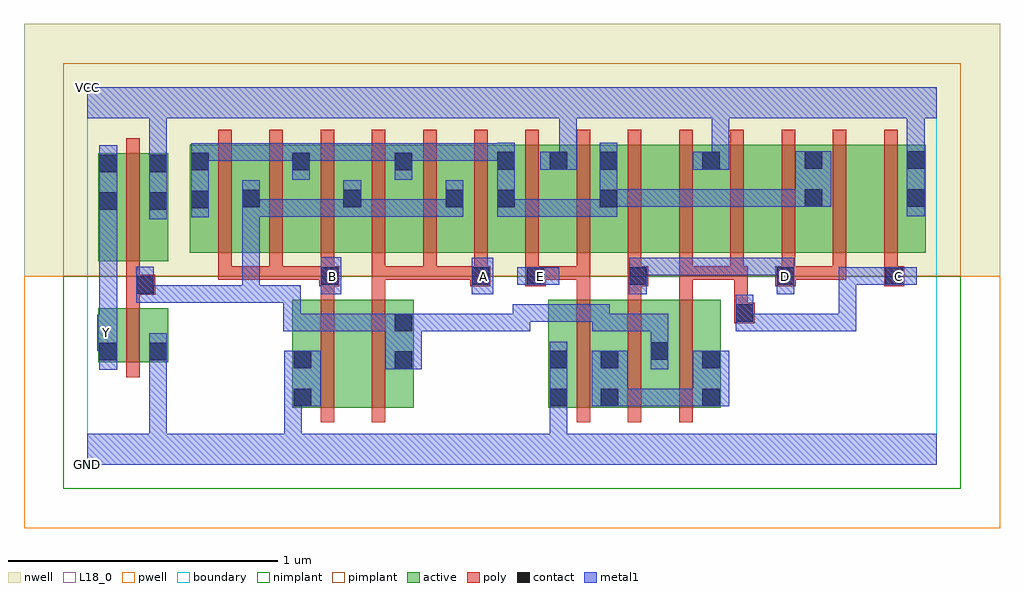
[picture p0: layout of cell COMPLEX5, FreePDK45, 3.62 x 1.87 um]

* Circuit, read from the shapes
.subckt COMPLEX5 A B C D E GND VCC Y
M1 GND n1 Y VSUBS nfet w=0.2u l=0.05u
M2 n2 B GND VSUBS nfet w=0.4u l=0.05u
M3 n1 A n2 VSUBS nfet w=0.4u l=0.05u
M4 n3 E GND VSUBS nfet w=0.4u l=0.05u
M5 n1 D n3 VSUBS nfet w=0.4u l=0.05u
M6 n3 C n1 VSUBS nfet w=0.4u l=0.05u
M7 VCC n1 Y n4 pfet w=0.4u l=0.05u
M8 n1 B n5 n4 pfet w=0.4u l=0.05u m=3
M9 n5 A n1 n4 pfet w=0.4u l=0.05u m=3
M10 VCC E n5 n4 pfet w=0.4u l=0.05u m=2
M11 n6 D n5 n4 pfet w=0.4u l=0.05u
M12 VCC C n6 n4 pfet w=0.4u l=0.05u
M13 n7 C VCC n4 pfet w=0.4u l=0.05u
M14 n5 D n7 n4 pfet w=0.4u l=0.05u
M15 n8 D n5 n4 pfet w=0.4u l=0.05u
M16 VCC C n8 n4 pfet w=0.4u l=0.05u
.ends

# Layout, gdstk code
import gdstk
lib = gdstk.Library(unit=1e-6, precision=1e-09)
def R(c, l, rs):  # rectangles x0, y0, x1, y1
    for r in rs: c.add(gdstk.rectangle(r[:2], r[2:], *l))
def A(c, l, x, y, w, h, nx, ny, dx, dy):  # array of equal rectangles
    R(c, l, [(x+i*dx, y+j*dy, x+i*dx+w, y+j*dy+h) for i in range(nx) for j in range(ny)])
active = (1, 0)
pwell = (2, 0)
nwell = (3, 0)
nimplant = (4, 0)
pimplant = (5, 0)
poly = (9, 0)
contact = (10, 0)
metal1 = (11, 0)
L18_0 = (18, 0)
boundary = (235, 0)

complex5 = lib.new_cell('COMPLEX5')
A(complex5, active, 0.755, 0.787, 0.265, 0.4, 4, 1, 0.19, 0)
A(complex5, active, 1.895, 0.787, 0.23, 0.4, 3, 1, 0.38, 0)
A(complex5, active, 2.125, 0.787, 0.225, 0.4, 3, 1, 0.38, 0)
R(complex5, active, [(0.76,0.212,0.835,0.492), (0.76,0.212,0.985,0.612), (0.985,0.212,1.21,0.612), (1.71,0.212,1.785,0.612), (1.71,0.212,1.975,0.612), (1.9,0.212,2.16,0.612), (1.9,0.212,1.975,0.492), (2.085,0.212,2.35,0.612), (2.275,0.212,2.35,0.612), (1.135,0.245,1.21,0.612), (2.085,0.245,2.16,0.492), (0.04,0.38,0.3,0.58), (0.225,0.38,0.3,0.58), (0.04,0.382,0.115,0.58), (0.04,0.755,0.115,1.155), (0.04,0.755,0.3,1.155), (0.225,0.755,0.3,1.155), (0.38,0.787,0.645,1.187), (0.38,0.787,0.455,1.162), (0.57,0.787,0.83,1.187), (0.57,0.787,0.645,1.07), (0.945,0.787,1.02,1.07), (1.135,0.787,1.21,1.162), (1.325,0.787,1.4,1.07), (1.515,0.787,1.59,1.187), (1.515,0.787,1.785,1.187), (1.71,0.787,1.785,1.187), (1.71,0.787,1.97,1.187), (1.895,0.787,1.97,1.165), (2.275,0.787,2.35,1.187), (2.655,0.787,2.73,1.167), (3.035,0.787,3.11,1.187), (0.755,0.907,0.83,1.162)])
R(complex5, pwell, [(-0.235,-0.235,3.385,0.7)])
R(complex5, nwell, [(-0.235,0.7,3.385,1.635)])
R(complex5, nimplant, [(-0.09,-0.09,3.24,0.7)])
R(complex5, pimplant, [(-0.09,0.7,3.24,1.49)])
A(complex5, poly, 1.815, 0.157, 0.05, 0.51, 3, 1, 0.19, 0)
A(complex5, poly, 0.485, 0.687, 0.05, 0.095, 14, 1, 0.19, 0)
A(complex5, poly, 0.485, 0.732, 0.05, 0.51, 14, 1, 0.19, 0)
R(complex5, poly, [(0.865,0.157,0.915,0.667), (1.055,0.157,1.105,0.667), (0.145,0.325,0.195,0.635), (2.4,0.525,2.475,0.6), (2.4,0.55,2.45,0.737), (0.145,0.585,0.195,0.68), (0.865,0.617,0.915,0.712), (1.055,0.617,1.105,0.737), (1.815,0.617,1.865,0.737), (2.005,0.617,2.055,0.712), (2.195,0.617,2.245,0.737), (0.145,0.63,0.252,0.705), (0.145,0.655,0.195,0.75), (0.86,0.662,0.935,0.737), (1.42,0.662,1.495,0.737), (1.625,0.662,1.7,0.737), (2.005,0.662,2.08,0.737), (2.552,0.662,2.627,0.737), (2.955,0.662,3.03,0.737), (0.485,0.687,0.535,0.737), (0.485,0.687,0.535,0.737), (0.485,0.687,0.535,0.737), (0.485,0.687,0.725,0.737), (0.675,0.687,0.725,0.737), (0.675,0.687,0.91,0.737), (0.86,0.687,0.91,0.737), (0.86,0.687,0.91,0.737), (1.055,0.687,1.105,0.737), (1.055,0.687,1.105,0.737), (1.055,0.687,1.105,0.737), (1.055,0.687,1.295,0.737), (1.245,0.687,1.295,0.737), (1.245,0.687,1.47,0.737), (1.42,0.687,1.47,0.737), (1.42,0.687,1.47,0.737), (1.65,0.687,1.7,0.737), (1.65,0.687,1.7,0.737), (1.65,0.687,1.865,0.737), (1.815,0.687,1.865,0.737), (2.195,0.687,2.245,0.737), (2.195,0.687,2.435,0.737), (2.385,0.687,2.435,0.737), (2.385,0.687,2.435,0.737), (2.385,0.687,2.435,0.737), (2.385,0.687,2.435,0.737), (2.385,0.687,2.45,0.737), (2.577,0.687,2.815,0.737), (2.765,0.687,2.815,0.737), (2.765,0.687,2.815,0.737), (2.765,0.687,2.815,0.737), (0.145,0.7,0.195,1.21)])
R(complex5, contact, [(0.765,0.217,0.83,0.282), (1.715,0.217,1.78,0.282), (1.905,0.217,1.97,0.282), (2.28,0.217,2.345,0.282), (1.14,0.355,1.205,0.42), (0.765,0.357,0.83,0.422), (1.715,0.357,1.78,0.422), (1.905,0.357,1.97,0.422), (2.28,0.357,2.345,0.422), (0.045,0.387,0.11,0.452), (0.23,0.387,0.295,0.452), (2.09,0.39,2.155,0.455), (1.14,0.495,1.205,0.56), (2.405,0.53,2.47,0.595), (0.182,0.635,0.247,0.7), (0.865,0.667,0.93,0.732), (1.425,0.667,1.49,0.732), (1.63,0.667,1.695,0.732), (2.01,0.667,2.075,0.732), (2.557,0.667,2.622,0.732), (2.96,0.667,3.025,0.732), (0.045,0.945,0.11,1.01), (0.23,0.945,0.295,1.01), (0.385,0.952,0.45,1.017), (0.575,0.955,0.64,1.02), (0.95,0.955,1.015,1.02), (1.33,0.955,1.395,1.02), (1.52,0.955,1.585,1.02), (1.9,0.955,1.965,1.02), (2.66,0.957,2.725,1.022), (3.04,0.957,3.105,1.022), (0.045,1.085,0.11,1.15), (0.23,1.085,0.295,1.15), (0.385,1.092,0.45,1.157), (0.76,1.092,0.825,1.157), (1.14,1.092,1.205,1.157), (1.52,1.095,1.585,1.16), (1.715,1.095,1.78,1.16), (1.9,1.095,1.965,1.16), (2.28,1.095,2.345,1.16), (2.66,1.097,2.725,1.162), (3.04,1.097,3.105,1.162)])
R(complex5, metal1, [(0,0,3.15,0.115), (0.23,0.05,0.295,0.115), (0.23,0.05,0.295,0.115), (0.23,0.05,0.295,0.417), (0.73,0.05,0.795,0.282), (1.715,0.05,1.78,0.247), (1.715,0.182,1.78,0.457), (1.715,0.182,1.78,0.247), (1.715,0.182,1.78,0.247), (0.73,0.217,0.795,0.282), (0.73,0.217,0.795,0.282), (0.73,0.217,0.865,0.422), (1.87,0.217,2.005,0.422), (1.94,0.217,2.172,0.282), (2.107,0.217,2.31,0.282), (2.107,0.217,2.172,0.282), (2.107,0.217,2.172,0.282), (2.107,0.217,2.172,0.282), (2.245,0.217,2.31,0.282), (2.245,0.217,2.31,0.282), (2.245,0.217,2.38,0.422), (0.045,0.352,0.11,0.487), (0.23,0.352,0.295,0.417), (0.23,0.352,0.295,0.417), (0.23,0.352,0.295,0.417), (0.23,0.352,0.295,0.417), (0.23,0.352,0.295,0.487), (1.105,0.355,1.24,0.56), (2.09,0.355,2.155,0.49), (0.037,0.422,0.11,0.557), (0.045,0.422,0.11,0.487), (2.09,0.425,2.155,0.49), (2.09,0.425,2.155,0.56), (0.045,0.492,0.11,0.975), (0.727,0.495,0.792,0.56), (0.727,0.495,0.792,0.56), (0.727,0.495,0.792,0.56), (0.727,0.495,0.962,0.56), (0.727,0.495,0.792,0.665), (0.897,0.495,0.962,0.56), (0.897,0.495,0.962,0.56), (0.897,0.495,0.962,0.56), (0.897,0.495,1.17,0.56), (1.175,0.495,1.24,0.56), (1.175,0.495,1.24,0.56), (1.175,0.495,1.377,0.56), (1.312,0.495,1.377,0.56), (1.312,0.495,1.377,0.56), (1.312,0.495,1.377,0.56), (1.312,0.495,1.522,0.56), (1.457,0.495,1.522,0.56), (1.457,0.495,1.642,0.56), (1.577,0.495,1.642,0.595), (1.872,0.495,2.155,0.56), (1.872,0.495,1.937,0.595), (2.405,0.495,2.47,0.56), (2.405,0.495,2.47,0.56), (2.405,0.495,2.47,0.56), (2.405,0.495,2.47,0.56), (2.405,0.495,2.47,0.63), (2.405,0.495,2.622,0.56), (2.557,0.495,2.622,0.56), (2.557,0.495,2.622,0.56), (2.557,0.495,2.622,0.56), (2.557,0.495,2.852,0.56), (2.787,0.495,2.852,0.732), (2.787,0.495,2.852,0.56), (2.787,0.495,2.852,0.56), (2.787,0.495,2.852,0.56), (1.577,0.53,1.78,0.595), (1.715,0.53,1.78,0.595), (1.715,0.53,1.78,0.595), (1.715,0.53,1.78,0.595), (1.715,0.53,1.937,0.595), (0.182,0.6,0.247,0.665), (0.182,0.6,0.247,0.665), (0.182,0.6,0.247,0.735), (0.182,0.6,0.502,0.665), (0.437,0.6,0.64,0.665), (0.437,0.6,0.502,0.665), (0.437,0.6,0.502,0.665), (0.437,0.6,0.502,0.665), (0.575,0.6,0.64,0.665), (0.575,0.6,0.64,0.665), (0.575,0.6,0.64,0.665), (0.575,0.6,0.792,0.665), (0.575,0.6,0.64,0.985), (0.727,0.6,0.792,0.665), (0.865,0.632,0.942,0.77), (1.425,0.632,1.505,0.767), (2.01,0.632,2.075,0.767), (2.557,0.632,2.622,0.767), (1.595,0.667,1.75,0.732), (2.787,0.667,2.99,0.732), (2.787,0.667,2.852,0.732), (2.925,0.667,3.077,0.732), (2.01,0.702,2.172,0.767), (2.107,0.702,2.172,0.767), (2.107,0.702,2.332,0.767), (2.267,0.702,2.332,0.767), (2.267,0.702,2.332,0.767), (2.267,0.702,2.332,0.767), (2.267,0.702,2.485,0.767), (2.42,0.702,2.485,0.767), (2.42,0.702,2.485,0.767), (2.42,0.702,2.485,0.767), (2.42,0.702,2.622,0.767), (0.045,0.91,0.11,1.185), (0.23,0.91,0.295,1.185), (0.385,0.917,0.45,1.192), (0.575,0.92,0.64,0.985), (0.575,0.92,0.64,0.985), (0.575,0.92,0.64,1.055), (0.575,0.92,0.825,0.985), (0.76,0.92,0.825,0.985), (0.76,0.92,0.825,0.985), (0.76,0.92,0.825,0.985), (0.76,0.92,1.015,0.985), (0.95,0.92,1.015,0.985), (0.95,0.92,1.015,0.985), (0.95,0.92,1.152,0.985), (0.95,0.92,1.015,1.055), (1.087,0.92,1.152,0.985), (1.087,0.92,1.152,0.985), (1.087,0.92,1.152,0.985), (1.087,0.92,1.395,0.985), (1.33,0.92,1.395,1.055), (1.52,0.92,1.585,1.195), (1.52,0.92,1.585,0.985), (1.52,0.92,1.585,0.985), (1.52,0.92,1.585,0.985), (1.52,0.92,1.585,0.985), (1.52,0.92,1.797,0.985), (1.732,0.92,1.797,0.985), (1.732,0.92,1.797,0.985), (1.732,0.92,1.797,0.985), (1.732,0.92,1.965,0.985), (1.9,0.92,1.965,1.195), (3.04,0.922,3.105,1.197), (1.9,0.957,1.965,1.022), (1.9,0.957,1.965,1.022), (1.9,0.957,2.172,1.022), (2.107,0.957,2.172,1.022), (2.107,0.957,2.332,1.022), (2.267,0.957,2.332,1.022), (2.267,0.957,2.332,1.022), (2.267,0.957,2.332,1.022), (2.267,0.957,2.485,1.022), (2.42,0.957,2.485,1.022), (2.42,0.957,2.485,1.022), (2.42,0.957,2.485,1.022), (2.42,0.957,2.69,1.022), (2.625,0.957,2.69,1.022), (2.625,0.957,2.69,1.022), (2.625,0.957,2.76,1.162), (0.76,1.057,0.825,1.192), (1.14,1.057,1.205,1.192), (1.68,1.095,1.815,1.16), (1.75,1.095,1.815,1.35), (2.245,1.095,2.38,1.16), (2.315,1.095,2.38,1.35), (0.23,1.12,0.295,1.35), (0.385,1.127,0.45,1.192), (0.385,1.127,0.45,1.192), (0.385,1.127,0.655,1.192), (0.59,1.127,0.655,1.192), (0.59,1.127,0.655,1.192), (0.59,1.127,0.655,1.192), (0.59,1.127,0.825,1.192), (0.76,1.127,0.825,1.192), (0.76,1.127,0.825,1.192), (0.76,1.127,1.015,1.192), (0.95,1.127,1.015,1.192), (0.95,1.127,1.015,1.192), (0.95,1.127,1.015,1.192), (0.95,1.127,1.205,1.192), (1.14,1.127,1.205,1.192), (1.14,1.127,1.205,1.192), (1.14,1.127,1.377,1.192), (1.312,1.127,1.377,1.192), (1.312,1.127,1.377,1.192), (1.312,1.127,1.377,1.192), (1.312,1.127,1.585,1.192), (3.04,1.132,3.105,1.35), (0,1.285,3.15,1.4)])
R(complex5, L18_0, [(0,0,3.15,0.115), (0.23,0.05,0.295,0.115), (0.23,0.05,0.295,0.115), (0.23,0.05,0.295,0.417), (0.73,0.05,0.795,0.282), (1.715,0.05,1.78,0.247), (1.715,0.182,1.78,0.247), (1.715,0.182,1.78,0.247), (1.715,0.182,1.78,0.457), (0.73,0.217,0.795,0.282), (0.73,0.217,0.795,0.282), (0.73,0.217,0.865,0.422), (0.045,0.352,0.11,0.487), (0.23,0.352,0.295,0.487), (0.23,0.352,0.295,0.417), (0.23,0.352,0.295,0.417), (0.23,0.352,0.295,0.417), (0.23,0.352,0.295,0.417), (0.037,0.422,0.11,0.557), (0.045,0.422,0.11,0.487), (0.037,0.457,0.102,0.522), (0.045,0.492,0.11,0.975), (2.405,0.495,2.47,0.63), (2.405,0.495,2.47,0.56), (2.405,0.495,2.47,0.56), (2.405,0.495,2.47,0.56), (2.405,0.495,2.47,0.56), (2.405,0.495,2.622,0.56), (2.557,0.495,2.622,0.56), (2.557,0.495,2.622,0.56), (2.557,0.495,2.622,0.56), (2.557,0.495,2.852,0.56), (2.787,0.495,2.852,0.56), (2.787,0.495,2.852,0.56), (2.787,0.495,2.852,0.56), (2.787,0.495,2.852,0.732), (0.865,0.632,0.942,0.77), (1.425,0.632,1.505,0.767), (2.01,0.632,2.075,0.767), (2.557,0.632,2.622,0.767), (0.877,0.667,0.942,0.732), (1.437,0.667,1.502,0.732), (1.595,0.667,1.75,0.732), (1.647,0.667,1.712,0.732), (2.557,0.667,2.622,0.732), (2.787,0.667,2.852,0.732), (2.787,0.667,2.99,0.732), (2.925,0.667,3.077,0.732), (2.977,0.667,3.042,0.732), (2.01,0.702,2.172,0.767), (2.107,0.702,2.172,0.767), (2.107,0.702,2.332,0.767), (2.267,0.702,2.332,0.767), (2.267,0.702,2.332,0.767), (2.267,0.702,2.332,0.767), (2.267,0.702,2.485,0.767), (2.42,0.702,2.485,0.767), (2.42,0.702,2.485,0.767), (2.42,0.702,2.485,0.767), (2.42,0.702,2.622,0.767), (0.045,0.91,0.11,1.185), (0.23,0.91,0.295,1.185), (3.04,0.922,3.105,1.197), (1.68,1.095,1.815,1.16), (1.75,1.095,1.815,1.35), (2.245,1.095,2.38,1.16), (2.315,1.095,2.38,1.35), (0.23,1.12,0.295,1.35), (3.04,1.132,3.105,1.35), (0,1.285,3.15,1.4)])
R(complex5, boundary, [(0,0,3.15,1.4)])
complex5.add(gdstk.Label('A', (1.47,0.7), layer=11, texttype=0))
complex5.add(gdstk.Label('B', (0.91,0.7), layer=11, texttype=0))
complex5.add(gdstk.Label('C', (3.01,0.7), layer=11, texttype=0))
complex5.add(gdstk.Label('D', (2.59,0.7), layer=11, texttype=0))
complex5.add(gdstk.Label('E', (1.68,0.7), layer=11, texttype=0))
complex5.add(gdstk.Label('Y', (0.07,0.49), layer=11, texttype=0))
complex5.add(gdstk.Label('VCC', (0,1.4), layer=11, texttype=0))
complex5.add(gdstk.Label('GND', (0,0), layer=11, texttype=0))

lib.write_gds('COMPLEX5.gds')
